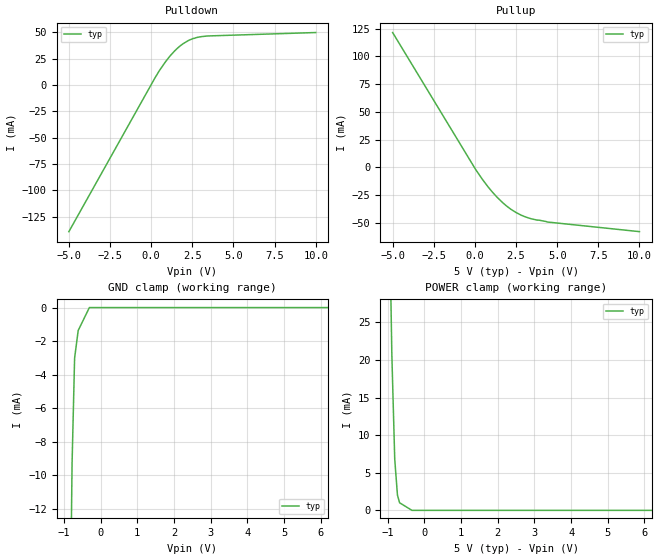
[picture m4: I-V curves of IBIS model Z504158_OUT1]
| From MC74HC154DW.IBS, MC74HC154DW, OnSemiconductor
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| (C) COPYRIGHT 1993-2000
| MENTOR GRAPHICS CORPORATION
| ICX STANDARD LIBRARY, ICX PROJECT MODELING,
| ICX CUSTOM MODELING, ICX VENDOR MODEL
| ALL RIGHTS RESERVED.
| THE FOLLOWING ARE TRADEMARKS OR SERVICE MARKS OF
| MENTOR GRAPHICS CORPORATION:ICX (R), ICX STANDARD
| LIBRARY(R), ICX PROJECT MODELING(R), ICX CUSTOM
| MODELING(R), qualityIBIS(TM), MODELVIEWER(TM),
| AND MODELEDITOR(TM)
| ALL COPIES OF SOFTWARE, INCLUDING BUT NOT LIMITED TO
| ANY MODIFICATIONS, ENHANCEMENTS OR DERIVATIVE WORKS,
| MUST CONTAIN ALL MENTOR GRAPHICS CORPORATION'S
| NOTICES AND LEGENDS, INCLUDING THOSE EMBEDDED IN
| SOFTWARE AND THOSE AFFIXED TO SOFTWARE MEDIUM
| AND CONTAINER, AS RECEIVED FROM MENTOR GRAPHICS
| CORPORATION.
| Model Application Version 1.89 2/18/99.
[Model] Z504158_OUT1
Model_type Output
Vref=0.000V
Rref=500.0Mohms
Cref=50.00pF
Vmeas=2.500V
C_comp 8.000pF NA NA
| variable typ   min   max
[Voltage Range] 5.000V NA NA
[POWER Clamp Reference] 5.000V NA NA
[Pullup Reference] 5.000V NA NA
[Pulldown Reference] 0.000V NA NA
[GND Clamp Reference] 0.000V NA NA
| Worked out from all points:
|   slope of the pulldown table from 0 to 0.75 V, typ, clamps not added: 39.5 ohm
|   slope of the pullup table from 0 to 0.75 V, typ, clamps not added: 47.5 ohm
[GND Clamp]
-5V       -556.1mA   NA         NA
-1.215V   -87.53mA   NA         NA
-1.099V   -70.56mA   NA         NA
-776.4mV  -9.295mA   NA         NA
-707.3mV  -3.009mA   NA         NA
-609.7mV  -1.367mA   NA         NA
-304.9mV  0A         NA         NA
10V       0A         NA         NA
[Pulldown]
-5V       -139.1mA   NA         NA
239.6mV   6.841mA    NA         NA
879.3mV   22.07mA    NA         NA
1.411V    31.91mA    NA         NA
1.743V    36.69mA    NA         NA
2.237V    41.8mA     NA         NA
2.553V    43.94mA    NA         NA
3.432V    46.36mA    NA         NA
10V       49.61mA    NA         NA
[Pullup]
-5V       121.5mA    NA         NA
40mV      -1.725mA   NA         NA
450mV     -10.63mA   NA         NA
1.074V    -22.4mA    NA         NA
1.9V      -34.44mA   NA         NA
2.812V    -42.97mA   NA         NA
3.78V     -47.41mA   NA         NA
4.398V    -49.13mA   NA         NA
10V       -57.81mA   NA         NA
[POWER Clamp]
-5V       1.971A     NA         NA
-1.278V   168.1mA    NA         NA
-1.092V   87.54mA    NA         NA
-1.006V   56.18mA    NA         NA
-885mV    20.74mA    NA         NA
-806mV    6.803mA    NA         NA
-732mV    2.033mA    NA         NA
-674mV    1.011mA    NA         NA
-337mV    0A         NA         NA
10V       0A         NA         NA
[Ramp]
| variable typ min max
dV/dt_r 2.772/2.164n NA NA
dV/dt_f 2.772/2.267n NA NA
R_load = 500.0Ohms
